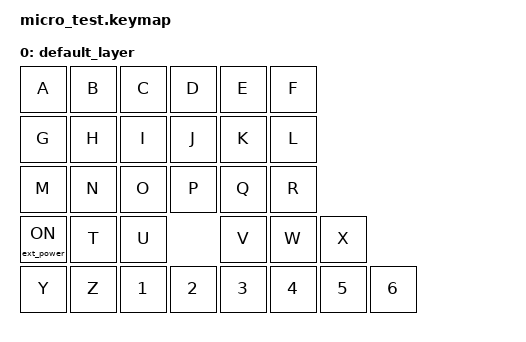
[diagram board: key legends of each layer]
#include <behaviors.dtsi>
#include <dt-bindings/zmk/keys.h>
#include <dt-bindings/zmk/outputs.h>
#include <dt-bindings/zmk/ext_power.h>

/ {
    keymap {
        compatible = "zmk,keymap";

        default_layer {
// -------------------------------------------------------------
// |    A    |    B    |    C    |    D    |    E    |    F    |
// |    G    |    H    |    I    |    J    |    K    |    L    |
// |    M    |    N    |    O    |    P    |    Q    |    R    |
// |    S    |    T    |    U    |    V    |    W    |    X    |
            bindings = <
    &kp A    &kp B    &kp C    &kp D    &kp E    &kp F
    &kp G    &kp H    &kp I    &kp J    &kp K    &kp L
    &kp M    &kp N    &kp O    &kp P    &kp Q    &kp R
    &ext_power EP_ON   &kp T    &kp U    &kp V    &kp W    &kp X
    &kp Y    &kp Z    &kp N1   &kp N2  &kp N3    &kp N4  &kp N5  &kp N6
            >;
        };
    };
};
